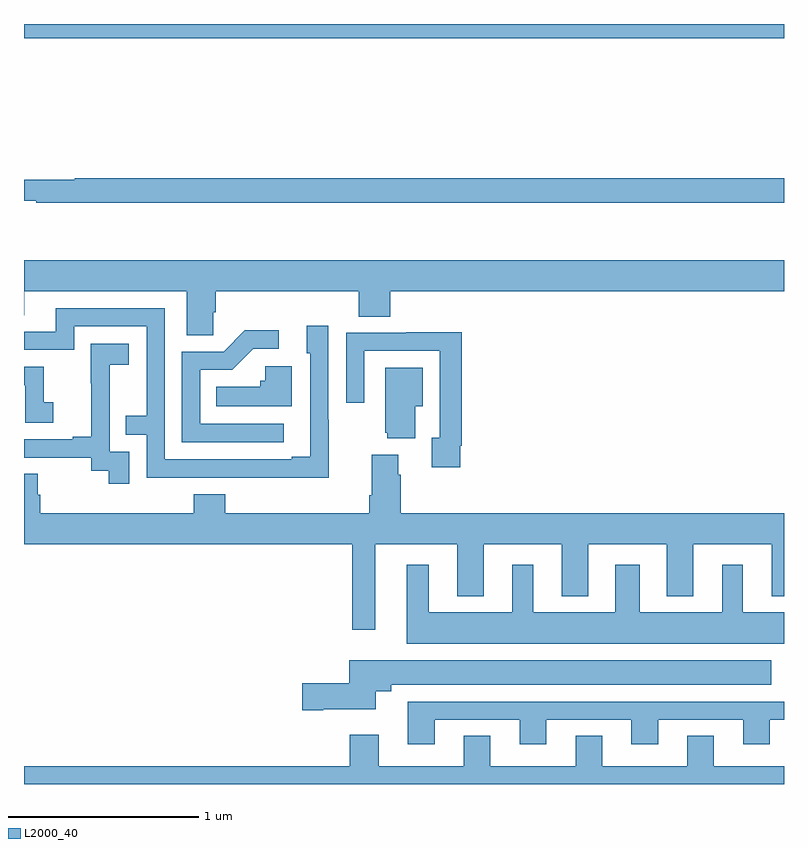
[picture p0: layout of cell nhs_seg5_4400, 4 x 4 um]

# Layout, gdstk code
import gdstk
lib = gdstk.Library(unit=1e-6, precision=1e-09)
def R(c, l, rs):  # rectangles x0, y0, x1, y1
    for r in rs: c.add(gdstk.rectangle(r[:2], r[2:], *l))
def P(c, l, *ps):  # polygons
    for p in ps: c.add(gdstk.Polygon(p, *l))
L2000_40 = (2000, 40)

nhs_seg5_4400 = lib.new_cell('nhs_seg5_4400')
R(nhs_seg5_4400, L2000_40, [(369,892.724,373,892.799)])
P(nhs_seg5_4400, L2000_40, [(373,891.986),(369.266,891.986),(369.266,891.979),(369,891.979),(369,891.87),(369.064,891.87),(369.064,891.858),(373,891.858)],
  [(369.996,891.283),(370.01,891.283),(370.01,891.392),(370.763,891.392),(370.763,891.259),(370.928,891.259),(370.928,891.392),(373,891.392),(373,891.556),(369,891.556),(369,891.265),(369.001,891.265),(369.001,891.392),(369.857,891.392),(369.857,891.16),(369.996,891.16)],
  [(370.605,890.717),(370.602,890.717),(370.602,891.211),(370.487,891.211),(370.487,891.066),(370.506,891.066),(370.506,890.521),(370.409,890.521),(370.409,890.508),(369.741,890.508),(369.741,891.303),(369.167,891.303),(369.167,891.18),(369,891.18),(369,891.084),(369.264,891.084),(369.264,891.207),(369.645,891.207),(369.645,890.738),(369.535,890.738),(369.535,890.637),(369.645,890.637),(369.645,890.412),(370.141,890.412),(370.141,890.411),(370.605,890.411)],
  [(370.366,890.694),(369.927,890.694),(369.927,890.979),(370.096,890.979),(370.207,891.09),(370.342,891.09),(370.342,891.188),(370.163,891.188),(370.05,891.075),(369.831,891.075),(369.831,890.598),(370.366,890.598)],
  [(371.296,890.578),(371.303,890.578),(371.303,891.176),(371.011,891.176),(371.011,891.174),(370.695,891.174),(370.695,890.805),(370.791,890.805),(370.791,891.078),(371.187,891.078),(371.187,890.622),(371.147,890.622),(371.147,890.466),(371.296,890.466)],
  [(369.555,890.547),(369.45,890.547),(369.45,890.777),(369.452,890.777),(369.452,891.005),(369.55,891.005),(369.55,891.115),(369.352,891.115),(369.352,890.909),(369.353,890.909),(369.353,890.626),(369.257,890.626),(369.257,890.613),(369,890.613),(369,890.517),(369.354,890.517),(369.354,890.449),(369.447,890.449),(369.447,890.379),(369.555,890.379)],
  [(370.408,890.998),(370.269,890.998),(370.269,890.922),(370.243,890.922),(370.243,890.89),(370.012,890.89),(370.012,890.786),(370.408,890.786)],
  [(369.154,890.809),(369.105,890.809),(369.105,890.994),(369,890.994),(369,890.898),(369.006,890.898),(369.006,890.7),(369.154,890.7)],
  [(371.059,890.786),(371.098,890.786),(371.098,890.989),(370.901,890.989),(370.901,890.649),(370.913,890.649),(370.913,890.618),(371.059,890.618)],
  [(370.849,890.06),(371.279,890.06),(371.279,889.787),(371.419,889.787),(371.419,890.06),(371.831,890.06),(371.831,889.787),(371.971,889.787),(371.971,890.06),(372.383,890.06),(372.383,889.787),(372.523,889.787),(372.523,890.06),(372.935,890.06),(372.935,889.787),(373,889.787),(373,890.224),(370.982,890.224),(370.982,890.426),(370.969,890.426),(370.969,890.533),(370.829,890.533),(370.829,890.32),(370.817,890.32),(370.817,890.224),(370.058,890.224),(370.058,890.323),(369.893,890.323),(369.893,890.224),(369.086,890.224),(369.086,890.322),(369.073,890.322),(369.073,890.432),(369,890.432),(369,890.06),(370.728,890.06),(370.728,889.611),(370.849,889.611)],
  [(373,889.702),(372.784,889.702),(372.784,889.954),(372.674,889.954),(372.674,889.702),(372.241,889.702),(372.241,889.954),(372.113,889.954),(372.113,889.702),(371.68,889.702),(371.68,889.954),(371.57,889.954),(371.57,889.702),(371.131,889.702),(371.131,889.954),(371.015,889.954),(371.015,889.538),(373,889.538)],
  [(370.576,889.193),(370.852,889.193),(370.852,889.286),(370.933,889.286),(370.933,889.322),(372.934,889.322),(372.934,889.45),(370.712,889.45),(370.712,889.328),(370.464,889.328),(370.464,889.186),(370.576,889.186)],
  [(371.161,889.137),(371.609,889.137),(371.609,889.008),(371.749,889.008),(371.749,889.137),(372.197,889.137),(372.197,889.008),(372.337,889.008),(372.337,889.137),(372.785,889.137),(372.785,889.008),(372.925,889.008),(372.925,889.137),(373,889.137),(373,889.233),(371.021,889.233),(371.021,889.008),(371.161,889.008)],
  [(373,888.892),(372.631,888.892),(372.631,889.052),(372.491,889.052),(372.491,888.892),(372.043,888.892),(372.043,889.052),(371.903,889.052),(371.903,888.892),(371.455,888.892),(371.455,889.052),(371.315,889.052),(371.315,888.892),(370.867,888.892),(370.867,889.057),(370.715,889.057),(370.715,888.892),(369,888.892),(369,888.799),(373,888.799)])

lib.write_gds('nhs_seg5_4400.gds')
